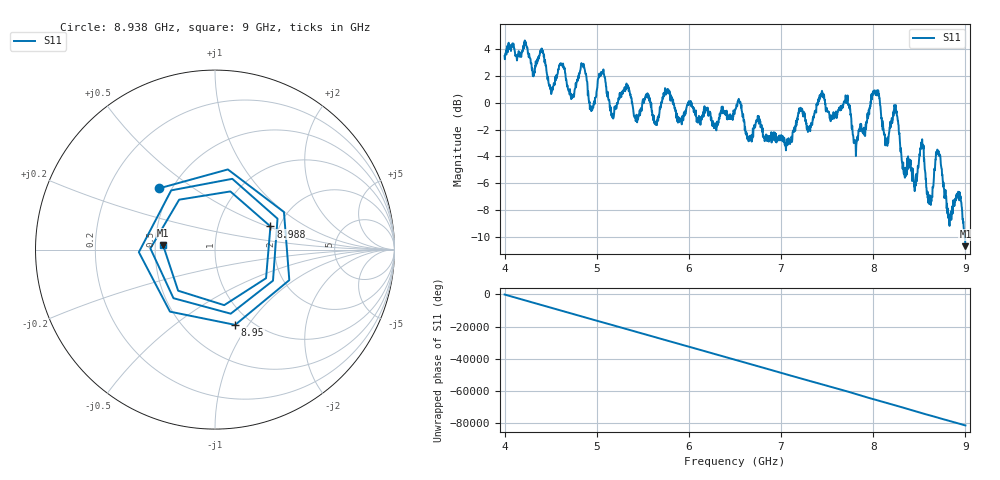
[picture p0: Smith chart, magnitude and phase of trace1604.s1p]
! Created with skrf 1.8.0 (http://scikit-rf.org).
# Hz S RI R 50.0
!freq ReS11 ImS11
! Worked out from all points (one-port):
!   1601 points, 4 GHz to 9 GHz, reference 50 ohm
!   lowest |S11| = -10.7 dB at 9 GHz (marker M1), VSWR 1.82, Z = 27.5 + j1.57 ohm
!   |S11| at or under -10 dB: 8.993385 GHz to end of sweep
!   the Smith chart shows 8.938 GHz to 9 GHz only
!   S11 on the Smith chart (normalised r, x): 8.938 GHz: 0.43, +0.37; 8.95 GHz: 0.84, -0.87; 8.988 GHz: 1.80, +0.52; 9 GHz: 0.55, +0.03
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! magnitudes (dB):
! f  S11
! 4 GHz  3.5
! 4.403 GHz  4.1
! 4.506 GHz  0.7
! 4.625 GHz  2.8
! 4.731 GHz  0.3
! 4.853 GHz  2.7
! 4.941 GHz  -0.5
! 5.05 GHz  2.1
! 5.162 GHz  -0.9
! 5.25 GHz  0.7
! 5.875 GHz  -1.4
! 6.5 GHz  -0.5
! 7.125 GHz  -2.2
! 7.441 GHz  0.8
! 7.75 GHz  -0.4
! 7.812 GHz  -4.0
! 8.038 GHz  0.6
! 8.141 GHz  -2.9
! 8.247 GHz  -0.5
! 8.375 GHz  -4.3
! 8.528 GHz  -3.1
! 8.616 GHz  -7.3
! 8.706 GHz  -3.7
! 8.822 GHz  -8.5
! 8.938 GHz  -6.7
! 8.95 GHz  -7.2
! 8.988 GHz  -9.5
! 9 GHz  -10.7
